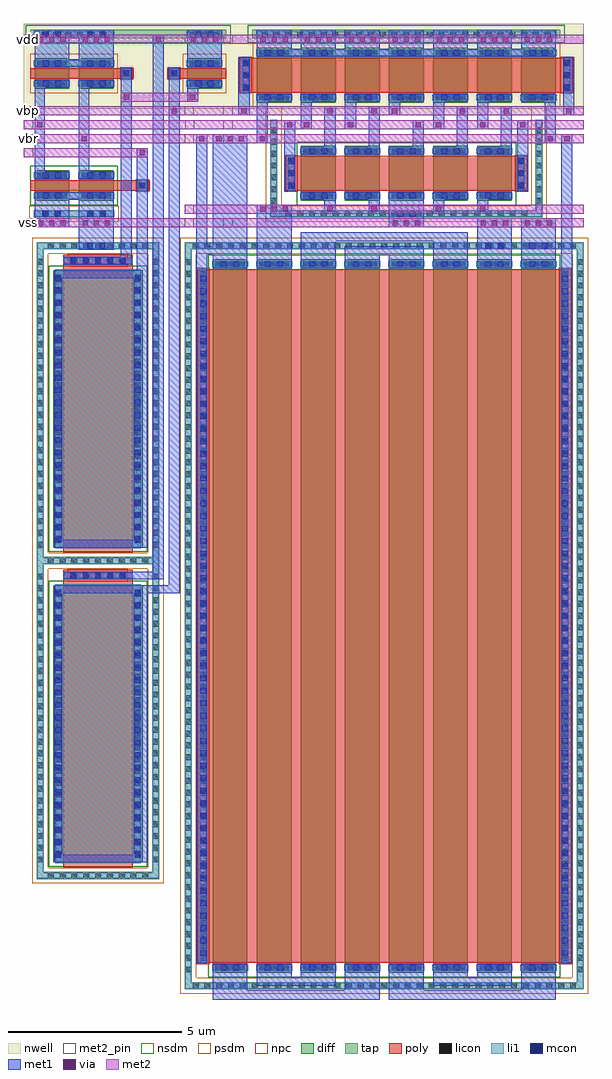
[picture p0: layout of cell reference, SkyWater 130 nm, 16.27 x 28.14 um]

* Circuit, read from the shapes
.subckt reference disable vbn vbp vbr vdd vss
XM1 vbn disable vss vss sky130_fd_pr__nfet_01v8 w=1 l=0.3
XM2 vbp vdd vbp vss sky130_fd_pr__nfet_01v8 w=8 l=2
XM3 disable ToBiasStartup_0/vkick disable vss sky130_fd_pr__nfet_01v8 w=8 l=2
XM4 vbr disable vss vss sky130_fd_pr__nfet_01v8 w=1 l=0.3
XM5 vbr vbr n1 vss sky130_fd_pr__nfet_01v8 w=1 l=20
XM6 OgueyAebischerBias_1/vres vbr n2 vss sky130_fd_pr__nfet_01v8 w=1 l=20
XM7 n3 vbr n2 vss sky130_fd_pr__nfet_01v8 w=1 l=20
XM8 vbp vbn OgueyAebischerBias_1/vres vss sky130_fd_pr__nfet_01v8 w=1 l=1 m=4
XM9 n4 vbr n1 vss sky130_fd_pr__nfet_01v8 w=1 l=20
XM10 n4 vbr n5 vss sky130_fd_pr__nfet_01v8 w=1 l=20
XM11 vbn vbn vss vss sky130_fd_pr__nfet_01v8 w=1 l=1
XM12 n3 vbr n6 vss sky130_fd_pr__nfet_01v8 w=1 l=20
XM13 vss vbr n6 vss sky130_fd_pr__nfet_01v8 w=1 l=20
XM14 vss vbr n5 vss sky130_fd_pr__nfet_01v8 w=1 l=20
XM15 vdd ToBiasStartup_0/vkick vbn vdd sky130_fd_pr__pfet_01v8 w=1 l=0.3
XM16 vdd ToBiasStartup_0/vkick vbr vdd sky130_fd_pr__pfet_01v8 w=1 l=0.3
XM17 vdd vbp ToBiasStartup_0/vkick vdd sky130_fd_pr__pfet_01v8 w=1 l=0.3
XM18 vdd vbp vbr vdd sky130_fd_pr__pfet_01v8 w=1 l=1 m=2
XM19 vdd vbp vbn vdd sky130_fd_pr__pfet_01v8 w=1 l=1 m=4
XM20 vdd vbp vbp vdd sky130_fd_pr__pfet_01v8 w=1 l=1
.ends

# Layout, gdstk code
from math import pi, radians
import gdstk
lib = gdstk.Library(unit=1e-6, precision=1e-09)
def R(c, l, rs):  # rectangles x0, y0, x1, y1
    for r in rs: c.add(gdstk.rectangle(r[:2], r[2:], *l))
def A(c, l, x, y, w, h, nx, ny, dx, dy):  # array of equal rectangles
    R(c, l, [(x+i*dx, y+j*dy, x+i*dx+w, y+j*dy+h) for i in range(nx) for j in range(ny)])
nwell = (64, 20)
diff = (65, 20)
tap = (65, 44)
poly = (66, 20)
licon = (66, 44)
li1 = (67, 20)
mcon = (67, 44)
met1 = (68, 20)
via = (68, 44)
met2_pin = (69, 16)
met2 = (69, 20)
nsdm = (93, 44)
psdm = (94, 20)
npc = (95, 20)

shortpmos_2x = lib.new_cell('shortpmos_2x')
R(shortpmos_2x, nwell, [(-1.45,-0.62,1.45,0.62)])
R(shortpmos_2x, diff, [(-1.14,-0.44,-0.14,0.44), (0.14,-0.44,1.14,0.44)])
R(shortpmos_2x, poly, [(-1.27,-0.15,1.27,0.15)])
A(shortpmos_2x, licon, -1.065, -0.38, 0.17, 0.17, 3, 2, 0.34, 0.59)
A(shortpmos_2x, licon, 0.215, -0.38, 0.17, 0.17, 3, 2, 0.34, 0.59)
R(shortpmos_2x, li1, [(-1.16,-0.38,-0.12,-0.21), (0.12,-0.38,1.16,-0.21), (-1.16,0.21,1.16,0.38)])
R(shortpmos_2x, mcon, [(-0.905,-0.38,-0.735,-0.21), (-0.545,-0.38,-0.375,-0.21), (0.375,-0.38,0.545,-0.21), (0.735,-0.38,0.905,-0.21), (-0.905,0.21,-0.735,0.38), (-0.545,0.21,-0.375,0.38), (0.375,0.21,0.545,0.38), (0.735,0.21,0.905,0.38)])
R(shortpmos_2x, met1, [(-1.14,-0.41,-0.14,-0.18), (0.14,-0.41,1.14,-0.18), (-1.14,0.18,1.14,0.41)])
R(shortpmos_2x, psdm, [(-1.265,-0.565,1.265,0.565)])

shortnmos_2x = lib.new_cell('shortnmos_2x')
R(shortnmos_2x, diff, [(-1.14,-0.44,-0.14,0.44), (0.14,-0.44,1.14,0.44)])
R(shortnmos_2x, poly, [(-1.27,-0.15,1.27,0.15)])
A(shortnmos_2x, licon, -1.065, -0.38, 0.17, 0.17, 3, 2, 0.34, 0.59)
A(shortnmos_2x, licon, 0.215, -0.38, 0.17, 0.17, 3, 2, 0.34, 0.59)
R(shortnmos_2x, li1, [(-1.16,-0.38,1.16,-0.21), (-1.16,0.21,-0.12,0.38), (0.12,0.21,1.16,0.38)])
R(shortnmos_2x, mcon, [(-0.905,-0.38,-0.735,-0.21), (-0.545,-0.38,-0.375,-0.21), (0.375,-0.38,0.545,-0.21), (0.735,-0.38,0.905,-0.21), (-0.905,0.21,-0.735,0.38), (-0.545,0.21,-0.375,0.38), (0.375,0.21,0.545,0.38), (0.735,0.21,0.905,0.38)])
R(shortnmos_2x, met1, [(-1.14,-0.41,1.14,-0.18), (-1.14,0.18,-0.14,0.41), (0.14,0.18,1.14,0.41)])
R(shortnmos_2x, nsdm, [(-1.265,-0.565,1.265,0.565)])

sky130_fd_pr__nfet_01v8_ = lib.new_cell('sky130_fd_pr__nfet_01v8_BDGNGK')
R(sky130_fd_pr__nfet_01v8_, diff, [(-1.29,-4.155,1.29,3.845)])
R(sky130_fd_pr__nfet_01v8_, poly, [(-1,-4.285,1,4.285)])
A(sky130_fd_pr__nfet_01v8_, licon, -1.23, -3.98, 0.17, 0.17, 1, 23, 0, 0.34)
A(sky130_fd_pr__nfet_01v8_, licon, 1.06, -3.98, 0.17, 0.17, 1, 23, 0, 0.34)
A(sky130_fd_pr__nfet_01v8_, licon, -0.765, 4.035, 0.17, 0.17, 5, 1, 0.34, 0)
R(sky130_fd_pr__nfet_01v8_, li1, [(-1.23,-4.175,-1.06,3.865), (1.06,-4.175,1.23,3.865), (-1,4.035,1,4.205)])
A(sky130_fd_pr__nfet_01v8_, mcon, -1.23, -4.02, 0.17, 0.17, 1, 22, 0, 0.36)
A(sky130_fd_pr__nfet_01v8_, mcon, 1.06, -4.02, 0.17, 0.17, 1, 22, 0, 0.36)
A(sky130_fd_pr__nfet_01v8_, mcon, -0.805, 4.035, 0.17, 0.17, 5, 1, 0.36, 0)
R(sky130_fd_pr__nfet_01v8_, met1, [(-1.26,-4.155,-1.03,3.845), (1.03,-4.155,1.26,3.845), (-0.98,4.005,0.98,4.235)])
R(sky130_fd_pr__nfet_01v8_, nsdm, [(-1.415,-4.28,1.415,3.97)])
R(sky130_fd_pr__nfet_01v8_, npc, [(-0.865,3.935,0.865,4.305)])

nmos_8x2 = lib.new_cell('nmos_8x2')
nmos_8x2.add(gdstk.Reference(sky130_fd_pr__nfet_01v8_, (1.29,4.285)))

flatpmos1x0_3 = lib.new_cell('flatpmos1x0.3')
R(flatpmos1x0_3, nwell, [(-0.81,-0.62,0.81,0.62)])
R(flatpmos1x0_3, diff, [(-0.5,-0.44,0.5,0.44)])
R(flatpmos1x0_3, poly, [(-0.63,-0.15,0.63,0.15)])
A(flatpmos1x0_3, licon, -0.425, -0.38, 0.17, 0.17, 3, 2, 0.34, 0.59)
R(flatpmos1x0_3, li1, [(-0.52,-0.38,0.52,-0.21), (-0.52,0.21,0.52,0.38)])
R(flatpmos1x0_3, mcon, [(-0.265,-0.38,-0.095,-0.21), (0.095,-0.38,0.265,-0.21), (-0.265,0.21,-0.095,0.38), (0.095,0.21,0.265,0.38)])
R(flatpmos1x0_3, met1, [(-0.5,-0.41,0.5,-0.18), (-0.5,0.18,0.5,0.41)])
R(flatpmos1x0_3, psdm, [(-0.625,-0.565,0.625,0.565)])

tobiasstartup = lib.new_cell('ToBiasStartup')
R(tobiasstartup, nwell, [(-3.67,2,2.35,4.46)])
A(tobiasstartup, tap, -1.56, -20.21, 3.54, 0.21, 1, 3, 0, 9.08)
R(tobiasstartup, tap, [(-1.56,-20,-1.35,-11.13), (1.77,-20,1.98,-11.13), (-1.56,-10.92,-1.35,-2.05), (1.77,-10.92,1.98,-2.05), (-0.26,-1.13,2.06,-0.92), (-3.49,4.03,2.17,4.28)])
R(tobiasstartup, poly, [(-1.28,-0.36,-0.24,-0.06), (-2.36,2.87,-1.78,3.17), (-0.82,2.87,-0.24,3.17)])
A(tobiasstartup, licon, -1.235, -20.19, 0.17, 0.17, 9, 3, 0.34, 9.08)
A(tobiasstartup, licon, -1.54, -19.73, 0.17, 0.17, 1, 25, 0, 0.34)
A(tobiasstartup, licon, 1.79, -19.73, 0.17, 0.17, 1, 25, 0, 0.34)
A(tobiasstartup, licon, -1.54, -10.65, 0.17, 0.17, 1, 25, 0, 0.34)
A(tobiasstartup, licon, 1.79, -10.65, 0.17, 0.17, 1, 25, 0, 0.34)
A(tobiasstartup, licon, -3.285, 4.07, 0.17, 0.17, 3, 1, 0.34, 0)
A(tobiasstartup, licon, -0.035, 4.07, 0.17, 0.17, 6, 1, 0.34, 0)
R(tobiasstartup, licon, [(-0.005,-1.11,0.165,-0.94), (0.335,-1.11,0.505,-0.94), (1.295,-1.11,1.465,-0.94), (1.635,-1.11,1.805,-0.94), (-1.155,-0.295,-0.985,-0.125), (-2.075,2.935,-1.905,3.105), (-0.695,2.935,-0.525,3.105)])
A(tobiasstartup, li1, -1.54, -20.19, 3.5, 0.17, 1, 3, 0, 9.08)
R(tobiasstartup, li1, [(-1.54,-20.02,-1.37,-11.11), (1.79,-20.02,1.96,-11.11), (-1.03,-19.75,1.43,-11.71), (-1.54,-10.94,-1.37,-2.03), (1.79,-10.94,1.96,-2.03), (-1.02,-10.67,1.44,-2.63), (-0.26,-1.11,2.06,-0.94), (-1.2,-0.39,-0.94,-0.03), (-2.12,2.84,-1.86,3.2), (-0.74,2.84,-0.48,3.2), (-3.38,4.07,-2.34,4.24), (-0.26,4.07,2.06,4.24)])
R(tobiasstartup, mcon, [(-0.005,-2.03,0.165,-1.86), (0.355,-2.03,0.525,-1.86), (-0.015,-1.11,0.155,-0.94), (0.345,-1.11,0.515,-0.94), (1.285,-1.11,1.455,-0.94), (1.645,-1.11,1.815,-0.94), (-1.155,-0.295,-0.985,-0.125), (-2.075,2.935,-1.905,3.105), (-0.695,2.935,-0.525,3.105), (-3.125,4.07,-2.955,4.24), (-2.765,4.07,-2.595,4.24), (-0.005,4.07,0.165,4.24), (0.355,4.07,0.525,4.24), (1.275,4.07,1.445,4.24), (1.635,4.07,1.805,4.24)])
R(tobiasstartup, met1, [(-1.23,-19.73,1.47,-19.5), (-1.23,-19.5,-0.91,-11.96), (-2.15,-11.96,1.47,-11.73), (-2.15,-11.73,-1.83,3.18), (-1.69,-11.57,1.19,-11.34), (-1.69,-11.34,-1.37,4.13), (-1.23,-10.65,1.47,-10.42), (-1.23,-10.42,-0.91,-2.88), (-1.23,-2.88,1.47,-2.65), (-1.23,-2.65,-0.91,0.87), (-0.77,-2.49,-0.45,3.18), (-0.24,-2.06,0.76,-0.39), (1.04,-1.42,2.04,-0.39), (0.46,0,0.76,2.81), (1.74,0,2.04,2.81), (-2.68,2.21,-2.36,2.84), (-3.36,3.2,-2.36,4.28), (-0.24,3.2,0.76,4.03), (1.04,3.2,2.04,4.03), (-0.24,4.03,2.04,4.28)])
A(tobiasstartup, via, -0.135, -1.365, 0.15, 0.15, 3, 2, 0.32, 5.29)
A(tobiasstartup, via, 1.145, -1.365, 0.15, 0.15, 3, 2, 0.32, 5.29)
A(tobiasstartup, via, -3.255, 3.925, 0.15, 0.15, 3, 1, 0.32, 0)
R(tobiasstartup, via, [(-1.145,0.665,-0.995,0.815), (0.535,1.065,0.685,1.215), (1.815,1.465,1.965,1.615), (-2.065,1.865,-1.915,2.015), (-2.595,2.265,-2.445,2.415), (-0.685,2.265,-0.535,2.415), (-1.605,3.925,-1.455,4.075)])
A(tobiasstartup, met2_pin, -3.67, 1.01, 0.27, 0.26, 1, 3, 0, 0.4)
R(tobiasstartup, met2_pin, [(-3.67,-1.42,-3.4,-1.16), (2.08,0.61,2.35,0.87), (-2.68,2.21,-2.41,2.47), (-3.67,3.87,-3.4,4.13)])
A(tobiasstartup, met2, -3.67, 1.01, 6.02, 0.26, 1, 3, 0, 0.4)
R(tobiasstartup, met2, [(-3.67,-1.42,2.35,-1.16), (-1.23,0.61,2.35,0.87), (-2.68,2.21,-0.45,2.47), (-3.67,3.87,2.35,4.13)])
R(tobiasstartup, nsdm, [(-3.615,3.905,2.295,4.405)])
A(tobiasstartup, psdm, -1.685, -20.335, 3.79, 0.46, 1, 3, 0, 9.08)
R(tobiasstartup, psdm, [(-1.685,-19.875,-1.225,-11.255), (1.645,-19.875,2.105,-11.255), (-1.685,-10.795,-1.225,-2.175), (1.645,-10.795,2.105,-2.175), (-0.385,-1.255,2.185,-0.795)])
R(tobiasstartup, npc, [(-1.255,-0.395,-0.885,-0.025), (-2.175,2.835,-1.805,3.205), (-0.795,2.835,-0.425,3.205)])
tobiasstartup.add(gdstk.Reference(shortpmos_2x, (0.9,3.02)))
tobiasstartup.add(gdstk.Reference(shortnmos_2x, (0.9,-0.21)))
tobiasstartup.add(gdstk.Reference(nmos_8x2, (1.5,-10.78), rotation=pi, x_reflection=True))
tobiasstartup.add(gdstk.Reference(nmos_8x2, (1.5,-19.86), rotation=pi, x_reflection=True))
tobiasstartup.add(gdstk.Reference(flatpmos1x0_3, (-2.86,3.02)))
tobiasstartup.add(gdstk.Label('vss', (-3.535,-1.29), layer=69, texttype=5))
tobiasstartup.add(gdstk.Label('vdd', (-3.535,4), layer=69, texttype=5))
tobiasstartup.add(gdstk.Label('vbp', (-3.535,1.94), layer=69, texttype=5))
tobiasstartup.add(gdstk.Label('vbn', (-3.535,1.54), layer=69, texttype=5))
tobiasstartup.add(gdstk.Label('vbr', (-3.535,1.14), layer=69, texttype=5))
tobiasstartup.add(gdstk.Label('disable', (2.215,0.74), layer=69, texttype=5))
tobiasstartup.add(gdstk.Label('vkick', (-2.545,2.34), layer=69, texttype=5))

nmos1x20_8x = lib.new_cell('nmos1x20_8x')
A(nmos1x20_8x, diff, -4.31, -10.29, 1, 20.58, 8, 1, 1.27, 0)
R(nmos1x20_8x, poly, [(-4.75,-10,6.03,10)])
A(nmos1x20_8x, licon, -4.235, -10.23, 0.17, 0.17, 3, 2, 0.34, 20.29)
A(nmos1x20_8x, licon, -2.965, -10.23, 0.17, 0.17, 3, 2, 0.34, 20.29)
A(nmos1x20_8x, licon, -1.695, -10.23, 0.17, 0.17, 3, 2, 0.34, 20.29)
A(nmos1x20_8x, licon, -0.425, -10.23, 0.17, 0.17, 3, 2, 0.34, 20.29)
A(nmos1x20_8x, licon, 0.845, -10.23, 0.17, 0.17, 3, 2, 0.34, 20.29)
A(nmos1x20_8x, licon, 2.115, -10.23, 0.17, 0.17, 3, 2, 0.34, 20.29)
A(nmos1x20_8x, licon, 3.385, -10.23, 0.17, 0.17, 3, 2, 0.34, 20.29)
A(nmos1x20_8x, licon, 4.655, -10.23, 0.17, 0.17, 3, 2, 0.34, 20.29)
A(nmos1x20_8x, licon, -4.67, -9.945, 0.17, 0.17, 1, 59, 0, 0.34)
A(nmos1x20_8x, licon, 5.77, -9.945, 0.17, 0.17, 1, 59, 0, 0.34)
A(nmos1x20_8x, li1, -4.33, -10.23, 1.04, 0.17, 8, 2, 1.27, 20.29)
R(nmos1x20_8x, li1, [(-4.67,-10.03,-4.5,10.03), (5.77,-10.03,5.94,10.03)])
A(nmos1x20_8x, mcon, -4.67, -9.805, 0.17, 0.17, 1, 55, 0, 0.36)
A(nmos1x20_8x, mcon, 5.77, -9.805, 0.17, 0.17, 1, 55, 0, 0.36)
R(nmos1x20_8x, mcon, [(-4.075,-10.23,-3.905,-10.06), (-3.715,-10.23,-3.545,-10.06), (-2.805,-10.23,-2.635,-10.06), (-2.445,-10.23,-2.275,-10.06), (-1.535,-10.23,-1.365,-10.06), (-1.175,-10.23,-1.005,-10.06), (-0.265,-10.23,-0.095,-10.06), (0.095,-10.23,0.265,-10.06), (1.005,-10.23,1.175,-10.06), (1.365,-10.23,1.535,-10.06), (2.275,-10.23,2.445,-10.06), (2.635,-10.23,2.805,-10.06), (3.545,-10.23,3.715,-10.06), (3.905,-10.23,4.075,-10.06), (4.815,-10.23,4.985,-10.06), (5.175,-10.23,5.345,-10.06), (-4.075,10.06,-3.905,10.23), (-3.715,10.06,-3.545,10.23), (-2.805,10.06,-2.635,10.23), (-2.445,10.06,-2.275,10.23), (-1.535,10.06,-1.365,10.23), (-1.175,10.06,-1.005,10.23), (-0.265,10.06,-0.095,10.23), (0.095,10.06,0.265,10.23), (1.005,10.06,1.175,10.23), (1.365,10.06,1.535,10.23), (2.275,10.06,2.445,10.23), (2.635,10.06,2.805,10.23), (3.545,10.06,3.715,10.23), (3.905,10.06,4.075,10.23), (4.815,10.06,4.985,10.23), (5.175,10.06,5.345,10.23)])
A(nmos1x20_8x, met1, -4.31, -10.26, 1, 0.23, 8, 2, 1.27, 20.29)
R(nmos1x20_8x, met1, [(-4.7,-10.01,-4.47,10.01), (5.74,-10.01,5.97,10.01)])
R(nmos1x20_8x, nsdm, [(-4.435,-10.415,5.705,10.415)])
R(nmos1x20_8x, npc, [(-4.77,-10.045,-4.4,10.045), (5.67,-10.045,6.04,10.045)])

nmos_1x80_2x = lib.new_cell('nmos_1x80_2x')
R(nmos_1x80_2x, tap, [(-0.37,-0.49,11.14,-0.28), (-0.37,-0.28,-0.16,20.85), (10.93,-0.28,11.14,20.85), (-0.37,20.85,11.14,21.06)])
A(nmos_1x80_2x, licon, -0.14, -0.47, 0.17, 0.17, 33, 2, 0.34, 21.34)
A(nmos_1x80_2x, licon, -0.35, 0, 0.17, 0.17, 1, 61, 0, 0.34)
A(nmos_1x80_2x, licon, 10.95, 0, 0.17, 0.17, 1, 61, 0, 0.34)
R(nmos_1x80_2x, li1, [(-0.35,-0.47,11.12,-0.3), (-0.35,-0.3,-0.18,20.87), (10.95,-0.3,11.12,20.87), (-0.35,20.87,11.12,21.04)])
R(nmos_1x80_2x, met1, [(2.98,-0.77,7.79,-0.51), (2.98,-0.51,3.98,0.26), (6.79,-0.51,7.79,0.26), (4.25,-0.37,6.52,-0.11), (4.25,-0.11,5.25,0.26), (5.52,-0.11,6.52,0.26), (-0.04,0.28,0.28,20.3), (10.49,0.28,10.81,20.3), (0.44,20.32,1.44,21.09), (1.71,20.32,2.71,20.69), (2.98,20.32,3.98,20.69), (4.25,20.32,5.25,21.09), (5.52,20.32,6.52,21.09), (6.79,20.32,7.79,20.69), (8.06,20.32,9.06,20.69), (9.33,20.32,10.33,21.09), (1.71,20.69,3.98,20.95), (6.79,20.69,9.06,20.95), (0.44,21.09,5.25,21.35), (5.52,21.09,10.33,21.35)])
R(nmos_1x80_2x, psdm, [(-0.495,-0.615,11.265,-0.155), (-0.495,-0.155,-0.035,20.725), (10.805,-0.155,11.265,20.725), (-0.495,20.725,11.265,21.185)])
nmos_1x80_2x.add(gdstk.Reference(nmos1x20_8x, (4.75,10.29)))

pmos_7x = lib.new_cell('pmos_7x')
R(pmos_7x, nwell, [(-4.62,-0.97,4.62,0.97)])
A(pmos_7x, diff, -4.31, -0.79, 1, 1.58, 7, 1, 1.27, 0)
R(pmos_7x, poly, [(-4.8,-0.5,4.8,0.5)])
A(pmos_7x, licon, -4.235, -0.73, 0.17, 0.17, 3, 2, 0.34, 1.29)
A(pmos_7x, licon, -2.965, -0.73, 0.17, 0.17, 3, 2, 0.34, 1.29)
A(pmos_7x, licon, -1.695, -0.73, 0.17, 0.17, 3, 2, 0.34, 1.29)
A(pmos_7x, licon, -0.425, -0.73, 0.17, 0.17, 3, 2, 0.34, 1.29)
A(pmos_7x, licon, 0.845, -0.73, 0.17, 0.17, 3, 2, 0.34, 1.29)
A(pmos_7x, licon, 2.115, -0.73, 0.17, 0.17, 3, 2, 0.34, 1.29)
A(pmos_7x, licon, 3.385, -0.73, 0.17, 0.17, 3, 2, 0.34, 1.29)
A(pmos_7x, licon, -4.72, -0.425, 0.17, 0.17, 1, 3, 0, 0.34)
A(pmos_7x, licon, 4.55, -0.425, 0.17, 0.17, 1, 3, 0, 0.34)
A(pmos_7x, li1, -4.33, -0.73, 1.04, 0.17, 7, 2, 1.27, 1.29)
R(pmos_7x, li1, [(-4.72,-0.53,-4.55,0.53), (4.55,-0.53,4.72,0.53)])
A(pmos_7x, mcon, -4.72, -0.445, 0.17, 0.17, 1, 3, 0, 0.36)
A(pmos_7x, mcon, 4.55, -0.445, 0.17, 0.17, 1, 3, 0, 0.36)
R(pmos_7x, mcon, [(-4.075,-0.73,-3.905,-0.56), (-3.715,-0.73,-3.545,-0.56), (-2.805,-0.73,-2.635,-0.56), (-2.445,-0.73,-2.275,-0.56), (-1.535,-0.73,-1.365,-0.56), (-1.175,-0.73,-1.005,-0.56), (-0.265,-0.73,-0.095,-0.56), (0.095,-0.73,0.265,-0.56), (1.005,-0.73,1.175,-0.56), (1.365,-0.73,1.535,-0.56), (2.275,-0.73,2.445,-0.56), (2.635,-0.73,2.805,-0.56), (3.545,-0.73,3.715,-0.56), (3.905,-0.73,4.075,-0.56), (-4.075,0.56,-3.905,0.73), (-3.715,0.56,-3.545,0.73), (-2.805,0.56,-2.635,0.73), (-2.445,0.56,-2.275,0.73), (-1.535,0.56,-1.365,0.73), (-1.175,0.56,-1.005,0.73), (-0.265,0.56,-0.095,0.73), (0.095,0.56,0.265,0.73), (1.005,0.56,1.175,0.73), (1.365,0.56,1.535,0.73), (2.275,0.56,2.445,0.73), (2.635,0.56,2.805,0.73), (3.545,0.56,3.715,0.73), (3.905,0.56,4.075,0.73)])
A(pmos_7x, met1, -4.31, -0.76, 1, 0.23, 7, 2, 1.27, 1.29)
R(pmos_7x, met1, [(-4.75,-0.51,-4.52,0.51), (4.52,-0.51,4.75,0.51)])
R(pmos_7x, psdm, [(-4.435,-0.915,4.435,0.915)])
R(pmos_7x, npc, [(-4.82,-0.525,-4.45,0.525), (4.45,-0.525,4.82,0.525)])

nmos_5x = lib.new_cell('nmos_5x')
A(nmos_5x, diff, -3.04, -0.79, 1, 1.58, 5, 1, 1.27, 0)
R(nmos_5x, poly, [(-3.48,-0.5,3.48,0.5)])
A(nmos_5x, licon, -2.965, -0.73, 0.17, 0.17, 3, 2, 0.34, 1.29)
A(nmos_5x, licon, -1.695, -0.73, 0.17, 0.17, 3, 2, 0.34, 1.29)
A(nmos_5x, licon, -0.425, -0.73, 0.17, 0.17, 3, 2, 0.34, 1.29)
A(nmos_5x, licon, 0.845, -0.73, 0.17, 0.17, 3, 2, 0.34, 1.29)
A(nmos_5x, licon, 2.115, -0.73, 0.17, 0.17, 3, 2, 0.34, 1.29)
A(nmos_5x, licon, -3.4, -0.425, 0.17, 0.17, 1, 3, 0, 0.34)
A(nmos_5x, licon, 3.23, -0.425, 0.17, 0.17, 1, 3, 0, 0.34)
A(nmos_5x, li1, -3.06, -0.73, 1.04, 0.17, 5, 2, 1.27, 1.29)
R(nmos_5x, li1, [(-3.4,-0.53,-3.23,0.53), (3.23,-0.53,3.4,0.53)])
A(nmos_5x, mcon, -3.4, -0.445, 0.17, 0.17, 1, 3, 0, 0.36)
A(nmos_5x, mcon, 3.23, -0.445, 0.17, 0.17, 1, 3, 0, 0.36)
R(nmos_5x, mcon, [(-2.805,-0.73,-2.635,-0.56), (-2.445,-0.73,-2.275,-0.56), (-1.535,-0.73,-1.365,-0.56), (-1.175,-0.73,-1.005,-0.56), (-0.265,-0.73,-0.095,-0.56), (0.095,-0.73,0.265,-0.56), (1.005,-0.73,1.175,-0.56), (1.365,-0.73,1.535,-0.56), (2.275,-0.73,2.445,-0.56), (2.635,-0.73,2.805,-0.56), (-2.805,0.56,-2.635,0.73), (-2.445,0.56,-2.275,0.73), (-1.535,0.56,-1.365,0.73), (-1.175,0.56,-1.005,0.73), (-0.265,0.56,-0.095,0.73), (0.095,0.56,0.265,0.73), (1.005,0.56,1.175,0.73), (1.365,0.56,1.535,0.73), (2.275,0.56,2.445,0.73), (2.635,0.56,2.805,0.73)])
A(nmos_5x, met1, -3.04, -0.76, 1, 0.23, 5, 2, 1.27, 1.29)
R(nmos_5x, met1, [(-3.43,-0.51,-3.2,0.51), (3.2,-0.51,3.43,0.51)])
R(nmos_5x, nsdm, [(-3.165,-0.915,3.165,0.915)])
R(nmos_5x, npc, [(-3.5,-0.525,-3.13,0.525), (3.13,-0.525,3.5,0.525)])

ogueyaebischer_p7_n5 = lib.new_cell('OgueyAebischer_p7_n5')
R(ogueyaebischer_p7_n5, nwell, [(-0.22,2,9.46,4.46)])
R(ogueyaebischer_p7_n5, tap, [(0.69,-1.13,8.55,-0.92), (0.69,-0.92,0.9,1.69), (8.34,-0.92,8.55,1.69), (0.18,4.03,9.06,4.28)])
A(ogueyaebischer_p7_n5, licon, 1.135, -1.11, 0.17, 0.17, 21, 1, 0.34, 0)
A(ogueyaebischer_p7_n5, licon, 0.71, -0.74, 0.17, 0.17, 1, 7, 0, 0.34)
A(ogueyaebischer_p7_n5, licon, 8.36, -0.74, 0.17, 0.17, 1, 7, 0, 0.34)
A(ogueyaebischer_p7_n5, licon, 0.45, 4.07, 0.17, 0.17, 25, 1, 0.34, 0)
R(ogueyaebischer_p7_n5, li1, [(0.71,-1.11,8.53,-0.94), (0.71,-0.94,0.88,1.67), (8.36,-0.94,8.53,1.67), (0.29,3.53,8.95,3.7), (0.29,4.07,8.95,4.24)])
R(ogueyaebischer_p7_n5, mcon, [(4.355,-1.11,4.525,-0.94), (4.715,-1.11,4.885,-0.94)])
A(ogueyaebischer_p7_n5, met1, 0.31, 3.73, 1, 0.55, 7, 1, 1.27, 0)
R(ogueyaebischer_p7_n5, met1, [(4.12,-1.42,5.12,-0.39), (2.26,-1.02,2.58,-0.39), (3.53,-1.02,3.85,-0.39), (5.39,-1.02,5.71,-0.39), (6.66,-1.02,6.98,-0.39), (1.1,-0.37,1.42,1.67), (7.82,-0.37,8.14,1.67), (2.26,0.67,2.58,2.07), (3.53,0.67,3.85,2.07), (4.8,0.67,5.12,1.67), (6.07,0.67,6.39,2.07), (7.34,0.67,7.66,2.07), (0.31,1.01,0.63,2.44), (8.61,1.01,8.93,2.44), (1.58,1.41,1.9,2.44), (2.85,1.41,3.17,2.44), (5.39,1.41,5.71,2.44), (6.66,1.41,6.98,2.44), (-0.22,1.81,0.1,3.48), (4.12,1.81,4.44,2.44), (9.14,1.81,9.46,3.48), (0.31,3.5,8.93,3.73)])
A(ogueyaebischer_p7_n5, via, 4.225, -1.365, 0.15, 0.15, 3, 2, 0.32, 5.29)
A(ogueyaebischer_p7_n5, via, 0.415, 3.925, 0.15, 0.15, 3, 1, 0.32, 0)
A(ogueyaebischer_p7_n5, via, 1.685, 3.925, 0.15, 0.15, 3, 1, 0.32, 0)
A(ogueyaebischer_p7_n5, via, 2.955, 3.925, 0.15, 0.15, 3, 1, 0.32, 0)
A(ogueyaebischer_p7_n5, via, 5.495, 3.925, 0.15, 0.15, 3, 1, 0.32, 0)
A(ogueyaebischer_p7_n5, via, 6.765, 3.925, 0.15, 0.15, 3, 1, 0.32, 0)
A(ogueyaebischer_p7_n5, via, 8.035, 3.925, 0.15, 0.15, 3, 1, 0.32, 0)
R(ogueyaebischer_p7_n5, via, [(2.345,-0.965,2.495,-0.815), (3.615,-0.965,3.765,-0.815), (5.475,-0.965,5.625,-0.815), (6.745,-0.965,6.895,-0.815), (0.395,1.065,0.545,1.215), (8.695,1.065,8.845,1.215), (1.185,1.465,1.335,1.615), (1.665,1.465,1.815,1.615), (2.935,1.465,3.085,1.615), (4.885,1.465,5.035,1.615), (5.475,1.465,5.625,1.615), (6.745,1.465,6.895,1.615), (7.905,1.465,8.055,1.615), (-0.135,1.865,0.015,2.015), (2.345,1.865,2.495,2.015), (3.615,1.865,3.765,2.015), (4.205,1.865,4.355,2.015), (6.155,1.865,6.305,2.015), (7.425,1.865,7.575,2.015), (9.225,1.865,9.375,2.015)])
A(ogueyaebischer_p7_n5, met2, -0.22, 1.01, 9.68, 0.26, 1, 3, 0, 0.4)
R(ogueyaebischer_p7_n5, met2, [(-0.22,-1.42,9.46,-1.16), (-0.22,-1.02,9.46,-0.76), (-0.22,3.87,9.46,4.13)])
R(ogueyaebischer_p7_n5, nsdm, [(0.055,3.905,9.185,4.405)])
R(ogueyaebischer_p7_n5, psdm, [(0.565,-1.255,8.675,-0.795), (0.565,-0.795,1.025,2.055), (8.215,-0.795,8.675,2.055)])
ogueyaebischer_p7_n5.add(gdstk.Reference(pmos_7x, (4.62,2.97)))
ogueyaebischer_p7_n5.add(gdstk.Reference(nmos_5x, (4.62,0.14), rotation=pi, x_reflection=True))

ogueyaebischerbias = lib.new_cell('OgueyAebischerBias')
R(ogueyaebischerbias, nwell, [(-1.77,2,9.74,4.46)])
R(ogueyaebischerbias, li1, [(6.72,-2.03,7.6,-1.86), (7.99,-2.03,8.87,-1.86)])
R(ogueyaebischerbias, mcon, [(6.895,-2.03,7.065,-1.86), (7.255,-2.03,7.425,-1.86), (8.165,-2.03,8.335,-1.86), (8.525,-2.03,8.695,-1.86)])
R(ogueyaebischerbias, met1, [(-1.44,-22.63,-1.12,-2.19), (9.09,-22.63,9.41,1.27), (-0.96,-2.59,0.04,-2.19), (0.31,-2.59,1.31,-0.76), (6.66,-2.59,7.66,-1.16), (7.93,-2.59,8.93,-1.16), (-1.44,-2.19,0.04,-1.96), (-1.44,-1.96,-1.12,1.27), (-0.96,-1.96,0.04,1.27)])
A(ogueyaebischerbias, via, 6.765, -1.365, 0.15, 0.15, 3, 1, 0.32, 0)
A(ogueyaebischerbias, via, 8.035, -1.365, 0.15, 0.15, 3, 1, 0.32, 0)
A(ogueyaebischerbias, via, 0.415, -0.965, 0.15, 0.15, 3, 1, 0.32, 0)
A(ogueyaebischerbias, via, -0.855, 1.065, 0.15, 0.15, 3, 1, 0.32, 0)
R(ogueyaebischerbias, via, [(-1.355,1.065,-1.205,1.215), (9.175,1.065,9.325,1.215)])
R(ogueyaebischerbias, met2_pin, [(-1.77,-1.42,-1.51,-1.16), (-1.77,-1.02,-1.51,-0.76), (-1.77,1.01,-1.51,1.27), (-1.76,1.41,-1.5,1.67), (-1.77,1.81,-1.51,2.07), (-1.77,3.87,-1.51,4.13)])
R(ogueyaebischerbias, met2, [(-1.77,-1.42,9.74,-1.16), (-1.77,-1.02,9.74,-0.76), (-1.77,1.01,9.74,1.27), (-1.76,1.41,9.74,1.67), (-1.77,1.81,9.74,2.07), (-1.77,3.87,9.74,4.13)])
ogueyaebischerbias.add(gdstk.Reference(nmos_1x80_2x, (-1.4,-2.33), x_reflection=True))
ogueyaebischerbias.add(gdstk.Reference(ogueyaebischer_p7_n5, (0,0)))
ogueyaebischerbias.add(gdstk.Label('vss', (-1.64,-1.29), layer=69, texttype=5))
ogueyaebischerbias.add(gdstk.Label('vdd', (-1.64,4), layer=69, texttype=5))
ogueyaebischerbias.add(gdstk.Label('vbp', (-1.64,1.94), layer=69, texttype=5))
ogueyaebischerbias.add(gdstk.Label('vbn', (-1.63,1.54), layer=69, texttype=5))
ogueyaebischerbias.add(gdstk.Label('vbr', (-1.64,1.14), layer=69, texttype=5))
ogueyaebischerbias.add(gdstk.Label('vres', (-1.64,-0.89), layer=69, texttype=5))

reference = lib.new_cell('reference')
A(reference, met2_pin, -6.41, 0.61, 0.27, 0.26, 1, 4, 0, 0.4)
R(reference, met2_pin, [(-6.41,-1.42,-6.14,-1.16), (-6.41,3.87,-6.14,4.13)])
reference.add(gdstk.Reference(tobiasstartup, (-4.06,0), rotation=pi, x_reflection=True))
reference.add(gdstk.Reference(ogueyaebischerbias, (0,0)))
reference.add(gdstk.Label('vss', (-6.275,-1.29), layer=69, texttype=5))
reference.add(gdstk.Label('vdd', (-6.275,4), layer=69, texttype=5))
reference.add(gdstk.Label('vbp', (-6.275,1.94), layer=69, texttype=5))
reference.add(gdstk.Label('vbn', (-6.275,1.54), layer=69, texttype=5))
reference.add(gdstk.Label('vbr', (-6.275,1.14), layer=69, texttype=5))
reference.add(gdstk.Label('disable', (-6.275,0.74), layer=69, texttype=5))

lib.write_gds('reference.gds')
